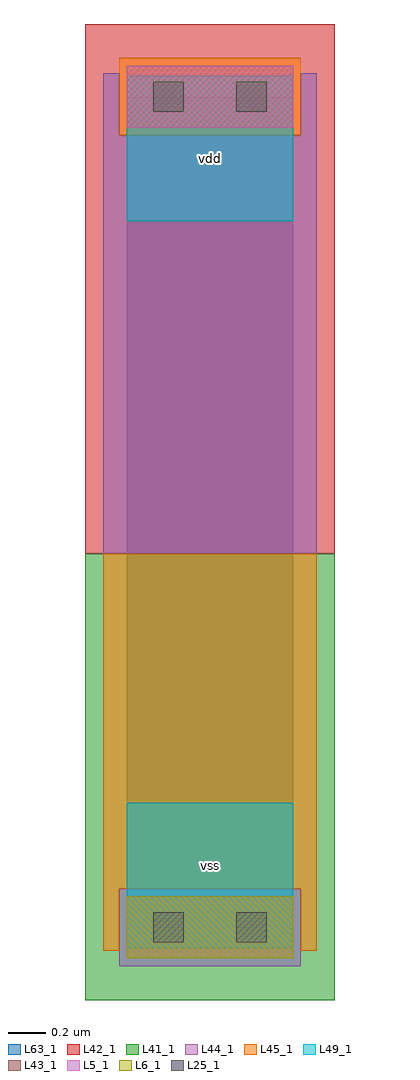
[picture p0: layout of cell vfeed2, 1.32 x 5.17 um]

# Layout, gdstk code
import gdstk
lib = gdstk.Library(unit=1e-6, precision=1e-09)
def R(c, l, rs):  # rectangles x0, y0, x1, y1
    for r in rs: c.add(gdstk.rectangle(r[:2], r[2:], *l))
L5_1 = (5, 1)
L6_1 = (6, 1)
L25_1 = (25, 1)
L41_1 = (41, 1)
L42_1 = (42, 1)
L43_1 = (43, 1)
L44_1 = (44, 1)
L45_1 = (45, 1)
L49_1 = (49, 1)
L63_1 = (63, 1)

vfeed2 = lib.new_cell('vfeed2')
R(vfeed2, L5_1, [(0,4.235,0.88,4.565)])
R(vfeed2, L6_1, [(0,-0.165,0.88,0.165)])
R(vfeed2, L25_1, [(0.14,-0.08,0.3,0.08), (0.58,-0.08,0.74,0.08), (0.14,4.32,0.3,4.48), (0.58,4.32,0.74,4.48)])
R(vfeed2, L41_1, [(-0.22,-0.385,1.1,1.98)])
R(vfeed2, L42_1, [(-0.22,1.98,1.1,4.785)])
R(vfeed2, L43_1, [(0,-0.165,0.88,0.165), (0,4.235,0.88,4.565)])
R(vfeed2, L44_1, [(-0.04,-0.205,0.92,0.205), (-0.125,1.98,1.005,4.195), (-0.125,4.195,-0.04,4.525), (0.92,4.195,1.005,4.525)])
R(vfeed2, L45_1, [(-0.125,-0.125,-0.04,0.205), (0.92,-0.125,1.005,0.205), (-0.125,0.205,1.005,1.98), (-0.04,4.195,0.92,4.605)])
R(vfeed2, L49_1, [(0,-0.11,0.88,0.66), (0,3.74,0.88,4.51)])
R(vfeed2, L63_1, [(0,0,0.88,4.4)])
vfeed2.add(gdstk.Label('vss', (0.44,0.33), layer=49, texttype=1))
vfeed2.add(gdstk.Label('vdd', (0.44,4.07), layer=49, texttype=1))

lib.write_gds('vfeed2.gds')
